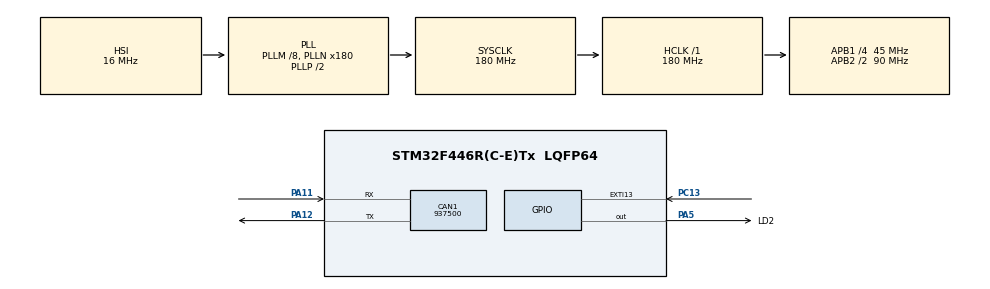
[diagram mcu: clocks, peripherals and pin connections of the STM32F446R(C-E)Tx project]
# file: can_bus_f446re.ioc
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CAN1.CalculateBaudRate=937500
CAN1.CalculateTimeBit=1066
CAN1.CalculateTimeQuantum=355.55555555555554
Mcu.Family=STM32F4
Mcu.Name=STM32F446R(C-E)Tx
Mcu.Package=LQFP64
NVIC.PriorityGroup=NVIC_PRIORITYGROUP_0
PA11.Mode=CAN_Activate
PA11.Signal=CAN1_RX
PA12.Mode=CAN_Activate
PA12.Signal=CAN1_TX
PA5.GPIO_Label=LD2
PA5.Signal=GPIO_Output
PC13.GPIO_ModeDefaultEXTI=GPIO_MODE_EVT_FALLING
PC13.Signal=GPXTI13
PH0-OSC_IN.Mode=HSE-External-Oscillator
PH0-OSC_IN.Signal=RCC_OSC_IN
PH1-OSC_OUT.Mode=HSE-External-Oscillator
PH1-OSC_OUT.Signal=RCC_OSC_OUT
ProjectManager.HeapSize=0x200
ProjectManager.StackSize=0x400
ProjectManager.TargetToolchain=STM32CubeIDE
RCC.48MHZClocksFreq_Value=84000000
RCC.AHBFreq_Value=180000000
RCC.APB1CLKDivider=RCC_HCLK_DIV4
RCC.APB1Freq_Value=45000000
RCC.APB1TimFreq_Value=90000000
RCC.APB2CLKDivider=RCC_HCLK_DIV2
RCC.APB2Freq_Value=90000000
RCC.APB2TimFreq_Value=180000000
RCC.CortexFreq_Value=180000000
RCC.FLatency-AdvancedSettings=FLASH_LATENCY_5
RCC.HCLKFreq_Value=180000000
RCC.HSE_VALUE=8000000
RCC.HSI_VALUE=16000000
RCC.PLLM=8
RCC.PLLN=180
RCC.SYSCLKFreq_VALUE=180000000
RCC.SYSCLKSource=RCC_SYSCLKSOURCE_PLLCLK
RCC.USBFreq_Value=180000000
RCC.VCOOutputFreq_Value=360000000
board=NUCLEO-F446RE

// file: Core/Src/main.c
/* USER CODE BEGIN Header */
/**
  ******************************************************************************
  * @file           : main.c
  * @brief          : Main program body
  ******************************************************************************
  * @attention
  *
  * Copyright (c) 2025 STMicroelectronics.
  * All rights reserved.
  *
  * This software is licensed under terms that can be found in the LICENSE file
  * in the root directory of this software component.
  * If no LICENSE file comes with this software, it is provided AS-IS.
  *
  ******************************************************************************
  */
/* USER CODE END Header */
#include "main.h"

/* USER CODE BEGIN Includes */
#include <string.h>
#include <stdio.h>
#include <stdarg.h> //for va_list var arg functions
#include <stdbool.h>
/* USER CODE END Includes */

CAN_HandleTypeDef hcan1;

void SystemClock_Config(void);
static void MX_GPIO_Init(void);
static void MX_CAN1_Init(void);

/* USER CODE BEGIN 0 */
CAN_TxHeaderTypeDef TxHeader;
CAN_RxHeaderTypeDef RxHeader;

uint32_t TxMailbox;

uint8_t TxData[8];
uint8_t RxData[8];

uint8_t count=0;

void HAL_CAN_RX_FIFo0MsgPendingCallback(CAN_HandleTypeDef *hcan){
	HAL_CAN_GetRxMessage(&hcan1, CAN_RX_FIFO0, &RxHeader, RxData);
	if (RxHeader.DLC==2){
		count=1;
	}
}

void HAL_GPIOEXTI_Callback(uint16_t GPIO_Pin){
	if (GPIO_Pin == GPIO_PIN_13){
		 HAL_GPIO_TogglePin(GPIOA, GPIO_PIN_5);
		TxData[0]=100; //delay
		TxData[1]=10; //loop repeats

		HAL_CAN_AddTxMessage(&hcan1, &TxHeader, TxData, &TxMailbox);
	}
}

/* USER CODE END 0 */

int main(void)
{

  /* MCU Configuration--------------------------------------------------------*/

  /* Reset of all peripherals, Initializes the Flash interface and the Systick. */
  HAL_Init();

  /* Configure the system clock */
  SystemClock_Config();

  /* Initialize all configured peripherals */
  MX_GPIO_Init();
  MX_CAN1_Init();
  /* USER CODE BEGIN 2 */
HAL_CAN_Start(&hcan1);

HAL_CAN_ActivateNotification(&hcan1, CAN_IT_RX_FIFO0_MSG_PENDING);

TxHeader.DLC=2;
TxHeader.ExtId=0;
TxHeader.IDE=CAN_ID_STD;
TxHeader.RTR=CAN_RTR_DATA;
TxHeader.StdId=0x446;
TxHeader.TransmitGlobalTime=DISABLE;

TxData[0]=100; //delay
TxData[1]=10; //loop repeats

HAL_CAN_AddTxMessage(&hcan1, &TxHeader, TxData, &TxMailbox);

//HAL_GPIO_TogglePin(GPIOA, GPIO_PIN_5);

  /* USER CODE END 2 */

  /* Infinite loop */
  while (1)
  {

    /* USER CODE BEGIN 3 */
	  if (count){
		  for (int i=0; i<RxData[1]; i++){
			  HAL_GPIO_TogglePin(GPIOA, GPIO_PIN_5);
			  HAL_Delay(RxData[0]);
		  }
		  count =0;
		  HAL_Delay(1000);
		  HAL_CAN_AddTxMessage(&hcan1, &TxHeader, TxData,&TxMailbox);
	  }
  }
  /* USER CODE END 3 */
}

void SystemClock_Config(void)
{
  RCC_OscInitTypeDef RCC_OscInitStruct = {0};
  RCC_ClkInitTypeDef RCC_ClkInitStruct = {0};

  /** Configure the main internal regulator output voltage
  */
  __HAL_RCC_PWR_CLK_ENABLE();
  __HAL_PWR_VOLTAGESCALING_CONFIG(PWR_REGULATOR_VOLTAGE_SCALE1);

  /** Initializes the RCC Oscillators according to the specified parameters
  * in the RCC_OscInitTypeDef structure.
  */
  RCC_OscInitStruct.OscillatorType = RCC_OSCILLATORTYPE_HSI;
  RCC_OscInitStruct.HSIState = RCC_HSI_ON;
  RCC_OscInitStruct.HSICalibrationValue = RCC_HSICALIBRATION_DEFAULT;
  RCC_OscInitStruct.PLL.PLLState = RCC_PLL_ON;
  RCC_OscInitStruct.PLL.PLLSource = RCC_PLLSOURCE_HSI;
  RCC_OscInitStruct.PLL.PLLM = 8;
  RCC_OscInitStruct.PLL.PLLN = 180;
  RCC_OscInitStruct.PLL.PLLP = RCC_PLLP_DIV2;
  RCC_OscInitStruct.PLL.PLLQ = 2;
  RCC_OscInitStruct.PLL.PLLR = 2;
  if (HAL_RCC_OscConfig(&RCC_OscInitStruct) != HAL_OK)
  {
    Error_Handler();
  }

  /** Activate the Over-Drive mode
  */
  if (HAL_PWREx_EnableOverDrive() != HAL_OK)
  {
    Error_Handler();
  }

  /** Initializes the CPU, AHB and APB buses clocks
  */
  RCC_ClkInitStruct.ClockType = RCC_CLOCKTYPE_HCLK|RCC_CLOCKTYPE_SYSCLK
                              |RCC_CLOCKTYPE_PCLK1|RCC_CLOCKTYPE_PCLK2;
  RCC_ClkInitStruct.SYSCLKSource = RCC_SYSCLKSOURCE_PLLCLK;
  RCC_ClkInitStruct.AHBCLKDivider = RCC_SYSCLK_DIV1;
  RCC_ClkInitStruct.APB1CLKDivider = RCC_HCLK_DIV4;
  RCC_ClkInitStruct.APB2CLKDivider = RCC_HCLK_DIV2;

  if (HAL_RCC_ClockConfig(&RCC_ClkInitStruct, FLASH_LATENCY_5) != HAL_OK)
  {
    Error_Handler();
  }
}

static void MX_CAN1_Init(void)
{

  hcan1.Instance = CAN1;
  hcan1.Init.Prescaler = 16;
  hcan1.Init.Mode = CAN_MODE_NORMAL;
  hcan1.Init.SyncJumpWidth = CAN_SJW_1TQ;
  hcan1.Init.TimeSeg1 = CAN_BS1_1TQ;
  hcan1.Init.TimeSeg2 = CAN_BS2_1TQ;
  hcan1.Init.TimeTriggeredMode = DISABLE;
  hcan1.Init.AutoBusOff = DISABLE;
  hcan1.Init.AutoWakeUp = DISABLE;
  hcan1.Init.AutoRetransmission = DISABLE;
  hcan1.Init.ReceiveFifoLocked = DISABLE;
  hcan1.Init.TransmitFifoPriority = DISABLE;
  if (HAL_CAN_Init(&hcan1) != HAL_OK)
  {
    Error_Handler();
  }
  /* USER CODE BEGIN CAN1_Init 2 */

    CAN_FilterTypeDef canfilterconfig;

    canfilterconfig.FilterActivation = CAN_FILTER_ENABLE;
    canfilterconfig.FilterBank = 0;  // anything between 0 to SlaveStartFilterBank
    canfilterconfig.FilterFIFOAssignment = CAN_RX_FIFO0;
    canfilterconfig.FilterIdHigh = 0x103<<5;
    canfilterconfig.FilterIdLow = 0x0000;
    canfilterconfig.FilterMaskIdHigh = 0x103<<5;
    canfilterconfig.FilterMaskIdLow = 0x0000;
    canfilterconfig.FilterMode = CAN_FILTERMODE_IDMASK;
    canfilterconfig.FilterScale = CAN_FILTERSCALE_32BIT;
    canfilterconfig.SlaveStartFilterBank = 13;  // 13 to 27 are assigned to slave CAN (CAN 2) OR 0 to 12 are assgned to CAN1
    HAL_CAN_ConfigFilter(&hcan1, &canfilterconfig);
/*
    canfilterconfig.FilterActivation = CAN_FILTER_ENABLE;
    canfilterconfig.FilterBank = 1;  // anything between 0 to SlaveStartFilterBank
    canfilterconfig.FilterFIFOAssignment = CAN_RX_FIFO0;
    canfilterconfig.FilterIdHigh = 0x301<<5;
    canfilterconfig.FilterIdLow = 0x0000;
    canfilterconfig.FilterMaskIdHigh = 0x301<<5;
    canfilterconfig.FilterMaskIdLow = 0x0000;
    canfilterconfig.FilterMode = CAN_FILTERMODE_IDLIST;
    canfilterconfig.FilterScale = CAN_FILTERSCALE_32BIT;
    canfilterconfig.SlaveStartFilterBank = 13;  // 13 to 27 are assigned to slave CAN (CAN 2) OR 0 to 12 are assgned to CAN1
    HAL_CAN_ConfigFilter(&hcan1, &canfilterconfig);
    */

  /* USER CODE END CAN1_Init 2 */

}

static void MX_GPIO_Init(void)
{
  GPIO_InitTypeDef GPIO_InitStruct = {0};

  /* GPIO Ports Clock Enable */
  __HAL_RCC_GPIOC_CLK_ENABLE();
  __HAL_RCC_GPIOH_CLK_ENABLE();
  __HAL_RCC_GPIOA_CLK_ENABLE();

  /*Configure GPIO pin Output Level */
  HAL_GPIO_WritePin(LD2_GPIO_Port, LD2_Pin, GPIO_PIN_RESET);

  /*Configure GPIO pin : PC13 */
  GPIO_InitStruct.Pin = GPIO_PIN_13;
  GPIO_InitStruct.Mode = GPIO_MODE_EVT_FALLING;
  GPIO_InitStruct.Pull = GPIO_NOPULL;
  HAL_GPIO_Init(GPIOC, &GPIO_InitStruct);

  /*Configure GPIO pin : LD2_Pin */
  GPIO_InitStruct.Pin = LD2_Pin;
  GPIO_InitStruct.Mode = GPIO_MODE_OUTPUT_PP;
  GPIO_InitStruct.Pull = GPIO_NOPULL;
  GPIO_InitStruct.Speed = GPIO_SPEED_FREQ_LOW;
  HAL_GPIO_Init(LD2_GPIO_Port, &GPIO_InitStruct);

}

void Error_Handler(void)
{
  __disable_irq();
  while (1)
  {
  }
}
